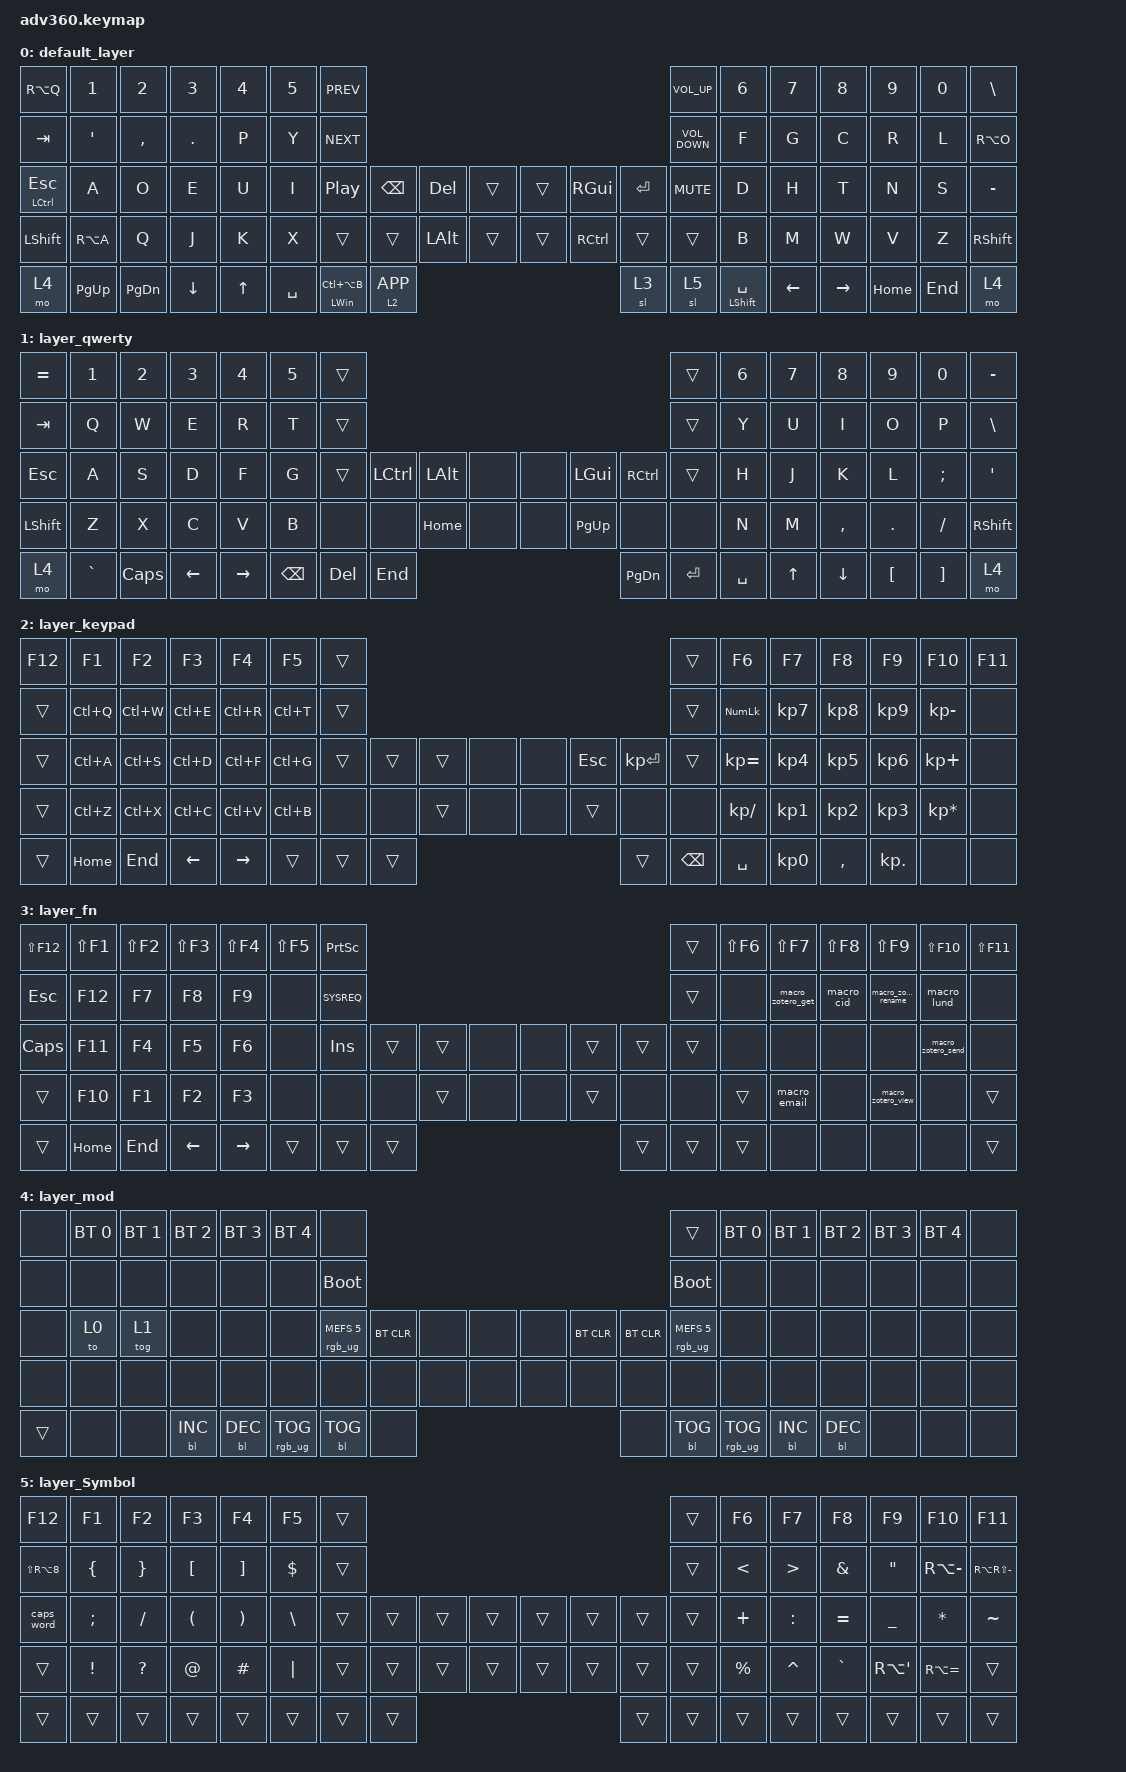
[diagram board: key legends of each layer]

/*
 * Copyright (c) 2020 The ZMK Contributors
 *
 * SPDX-License-Identifier: MIT
 */


/* THIS FILE WAS GENERATED!
 *
 * This file was generated automatically. You may or may not want to
 * edit it directly.
 */

#include <behaviors.dtsi>
#include <dt-bindings/zmk/keys.h>
#include <dt-bindings/zmk/bt.h>
#include <dt-bindings/zmk/rgb.h>
#include <dt-bindings/zmk/backlight.h>

/ {
  behaviors {
    #include "macros.dtsi"

    hm: homerow_mods {
        compatible = "zmk,behavior-hold-tap";
        label = "HOMEROW_MODS";
        #binding-cells = <2>;
        tapping-term-ms = <200>;
        quick_tap_ms = <175>;
        flavor = "tap-preferred";
        bindings = <&kp>, <&kp>;
    };
  };

    keymap {
        compatible = "zmk,keymap";


        default_layer {
            bindings = <
            &kp RA(Q)          &kp N1   &kp NUMBER_2  &kp NUMBER_3  &kp NUMBER_4  &kp NUMBER_5            &kp C_PREV                                                                                              &kp C_VOL_UP  &kp NUMBER_6  &kp NUMBER_7  &kp NUMBER_8  &kp NUMBER_9  &kp NUMBER_0    &kp BACKSLASH
              &kp TAB  &kp APOSTROPHE      &kp COMMA    &kp PERIOD         &kp P         &kp Y            &kp C_NEXT                                                                                         &kp C_VOLUME_DOWN         &kp F         &kp G         &kp C         &kp R         &kp L        &kp RA(O)
 &mt LEFT_CONTROL ESC           &kp A          &kp O         &kp E         &kp U         &kp I              &kp C_PP           &kp BACKSPACE    &kp DELETE  &trans  &trans      &kp RIGHT_GUI  &kp ENTER            &kp C_MUTE         &kp D         &kp H         &kp T         &kp N         &kp S        &kp MINUS
           &kp LSHIFT       &kp RA(A)          &kp Q         &kp J         &kp K         &kp X                &trans                  &trans  &kp LEFT_ALT  &trans  &trans  &kp RIGHT_CONTROL     &trans                &trans         &kp B         &kp M         &kp W         &kp V         &kp Z  &kp RIGHT_SHIFT
                &mo 4     &kp PAGE_UP  &kp PAGE_DOWN      &kp DOWN        &kp UP                           &kp SPACE  &mt LEFT_WIN LC(LA(B))   &lt 2 K_APP                              &sl 3      &sl 5  &mt LEFT_SHIFT SPACE                    &kp LEFT     &kp RIGHT      &kp HOME       &kp END            &mo 4
            >;
        };

        layer_qwerty {
            bindings = <
 &kp EQUAL     &kp N1    &kp N2    &kp N3     &kp N4  &kp N5              &trans                                                                &trans  &kp N6  &kp N7     &kp N8    &kp N9    &kp N0  &kp MINUS
   &kp TAB      &kp Q     &kp W     &kp E      &kp R   &kp T              &trans                                                                &trans   &kp Y   &kp U      &kp I     &kp O     &kp P   &kp BSLH
   &kp ESC      &kp A     &kp S     &kp D      &kp F   &kp G              &trans  &kp LCTRL  &kp LALT   &none   &none   &kp LGUI  &kp RCTRL     &trans   &kp H   &kp J      &kp K     &kp L  &kp SEMI    &kp SQT
 &kp LSHFT      &kp Z     &kp X     &kp C      &kp V   &kp B               &none      &none  &kp HOME   &none   &none  &kp PG_UP      &none      &none   &kp N   &kp M  &kp COMMA   &kp DOT  &kp FSLH  &kp RSHFT
     &mo 4  &kp GRAVE  &kp CAPS  &kp LEFT  &kp RIGHT                    &kp BSPC    &kp DEL   &kp END                  &kp PG_DN  &kp ENTER  &kp SPACE          &kp UP   &kp DOWN  &kp LBKT  &kp RBKT      &mo 4
            >;
        };

        layer_keypad {
            bindings = <
 &kp F12     &kp F1     &kp F2     &kp F3     &kp F4     &kp F5            &trans                                                             &trans        &kp F6     &kp F7     &kp F8      &kp F9          &kp F10  &kp F11
  &trans  &kp LC(Q)  &kp LC(W)  &kp LC(E)  &kp LC(R)  &kp LC(T)            &trans                                                             &trans    &kp KP_NUM  &kp KP_N7  &kp KP_N8   &kp KP_N9     &kp KP_MINUS    &none
  &trans  &kp LC(A)  &kp LC(S)  &kp LC(D)  &kp LC(F)  &kp LC(G)            &trans  &trans  &trans   &none   &none  &kp ESC   &kp KP_ENTER     &trans  &kp KP_EQUAL  &kp KP_N4  &kp KP_N5   &kp KP_N6      &kp KP_PLUS    &none
  &trans  &kp LC(Z)  &kp LC(X)  &kp LC(C)  &kp LC(V)  &kp LC(B)             &none   &none  &trans   &none   &none   &trans          &none      &none  &kp KP_SLASH  &kp KP_N1  &kp KP_N2   &kp KP_N3  &kp KP_MULTIPLY    &none
  &trans   &kp HOME    &kp END   &kp LEFT  &kp RIGHT                       &trans  &trans  &trans                   &trans  &kp BACKSPACE  &kp SPACE                &kp KP_N0  &kp COMMA  &kp KP_DOT            &none    &none
            >;
        };

        layer_fn {
            bindings = <
 &kp LS(F12)  &kp LS(F1)  &kp LS(F2)  &kp LS(F3)  &kp LS(F4)  &kp LS(F5)            &kp PRINTSCREEN                                                  &trans  &kp LS(F6)         &kp LS(F7)  &kp LS(F8)            &kp LS(F9)         &kp LS(F10)  &kp LS(F11)
     &kp ESC     &kp F12      &kp F7      &kp F8      &kp F9       &none                 &kp SYSREQ                                                  &trans       &none  &macro_zotero_get  &macro_cid  &macro_zotero_rename         &macro_lund        &none
    &kp CAPS     &kp F11      &kp F4      &kp F5      &kp F6       &none                 &kp INSERT  &trans  &trans   &none   &none  &trans  &trans  &trans       &none              &none       &none                 &none  &macro_zotero_send        &none
      &trans     &kp F10      &kp F1      &kp F2      &kp F3       &none                      &none   &none  &trans   &none   &none  &trans   &none   &none      &trans       &macro_email       &none    &macro_zotero_view               &none       &trans
      &trans    &kp HOME     &kp END    &kp LEFT   &kp RIGHT                                 &trans  &trans  &trans                  &trans  &trans  &trans                          &none       &none                 &none               &none       &trans
            >;
        };

        layer_mod {
            bindings = <
  &none  &bt BT_SEL 0  &bt BT_SEL 1  &bt BT_SEL 2  &bt BT_SEL 3  &bt BT_SEL 4                             &none                                                                              &trans  &bt BT_SEL 0  &bt BT_SEL 1  &bt BT_SEL 2  &bt BT_SEL 3  &bt BT_SEL 4   &none
  &none         &none         &none         &none         &none         &none                       &bootloader                                                                         &bootloader         &none         &none         &none         &none         &none   &none
  &none         &to 0        &tog 1         &none         &none         &none            &rgb_ug RGB_MEFS_CMD 5  &bt BT_CLR   &none   &none   &none  &bt BT_CLR  &bt BT_CLR  &rgb_ug RGB_MEFS_CMD 5         &none         &none         &none         &none         &none   &none
  &none         &none         &none         &none         &none         &none                             &none       &none   &none   &none   &none       &none       &none                   &none         &none         &none         &none         &none         &none   &none
 &trans         &none         &none    &bl BL_INC    &bl BL_DEC                                 &rgb_ug RGB_TOG  &bl BL_TOG   &none                       &none  &bl BL_TOG         &rgb_ug RGB_TOG                  &bl BL_INC    &bl BL_DEC         &none         &none   &none
            >;
        };

        layer_Symbol {
            bindings = <
              &kp F12           &kp F1           &kp F2                &kp F3                 &kp F4         &kp F5            &trans                                                  &trans       &kp F6     &kp F7         &kp F8              &kp F9        &kp F10            &kp F11
 &kp LS(RA(NUMBER_8))   &kp LEFT_BRACE  &kp RIGHT_BRACE      &kp LEFT_BRACKET      &kp RIGHT_BRACKET     &kp DOLLAR            &trans                                                  &trans       &kp LT     &kp GT  &kp AMPERSAND   &kp DOUBLE_QUOTES  &kp RA(MINUS)  &kp RA(RS(MINUS))
           &caps_word    &kp SEMICOLON        &kp SLASH  &kp LEFT_PARENTHESIS  &kp RIGHT_PARENTHESIS  &kp BACKSLASH            &trans  &trans  &trans  &trans  &trans  &trans  &trans  &trans     &kp PLUS  &kp COLON      &kp EQUAL      &kp UNDERSCORE   &kp ASTERISK          &kp TILDE
               &trans  &kp EXCLAMATION     &kp QUESTION                &kp AT               &kp HASH       &kp PIPE            &trans  &trans  &trans  &trans  &trans  &trans  &trans  &trans  &kp PERCENT  &kp CARET      &kp GRAVE  &kp RA(APOSTROPHE)  &kp RA(EQUAL)             &trans
               &trans           &trans           &trans                &trans                 &trans                           &trans  &trans  &trans                  &trans  &trans  &trans                  &trans         &trans              &trans         &trans             &trans
            >;
        };

    };
};
